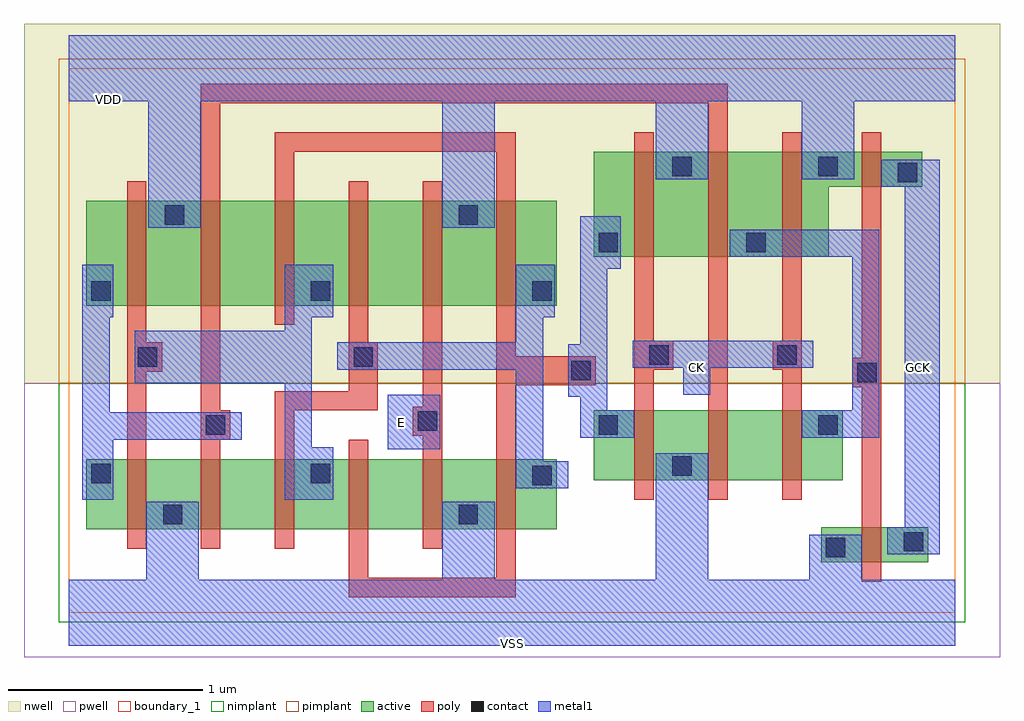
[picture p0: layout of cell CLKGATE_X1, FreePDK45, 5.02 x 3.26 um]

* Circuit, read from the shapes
.subckt CLKGATE_X1 CK E GCK VDD VSS
M1 VSS n1 n2 VSUBS nfet w=0.36u l=0.1u
M2 n3 n2 VSS VSUBS nfet w=0.36u l=0.1u
M3 n1 n4 n3 VSUBS nfet w=0.36u l=0.1u
M4 n5 n6 n1 VSUBS nfet w=0.36u l=0.1u
M5 VSS E n5 VSUBS nfet w=0.36u l=0.1u
M6 n4 n6 VSS VSUBS nfet w=0.36u l=0.1u
M7 VSS CK n6 VSUBS nfet w=0.36u l=0.1u
M8 n7 n2 VSS VSUBS nfet w=0.36u l=0.1u
M9 n8 CK n7 VSUBS nfet w=0.36u l=0.1u
M10 GCK n8 VSS VSUBS nfet w=0.18u l=0.1u
M11 VDD n1 n2 n9 pfet w=0.54u l=0.1u
M12 n10 n2 VDD n9 pfet w=0.54u l=0.1u
M13 n1 n6 n10 n9 pfet w=0.54u l=0.1u
M14 n11 n4 n1 n9 pfet w=0.54u l=0.1u
M15 VDD E n11 n9 pfet w=0.54u l=0.1u
M16 n4 n6 VDD n9 pfet w=0.54u l=0.1u
M17 VDD CK n6 n9 pfet w=0.54u l=0.1u
M18 n8 n2 VDD n9 pfet w=0.54u l=0.1u
M19 VDD CK n8 n9 pfet w=0.54u l=0.1u
M20 GCK n8 VDD n9 pfet w=0.18u l=0.1u
.ends

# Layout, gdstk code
import gdstk
lib = gdstk.Library(unit=1e-6, precision=1e-09)
def R(c, l, rs):  # rectangles x0, y0, x1, y1
    for r in rs: c.add(gdstk.rectangle(r[:2], r[2:], *l))
def P(c, l, *ps):  # polygons
    for p in ps: c.add(gdstk.Polygon(p, *l))
active = (1, 0)
pwell = (2, 0)
nwell = (3, 0)
nimplant = (4, 0)
pimplant = (5, 0)
poly = (9, 0)
contact = (10, 0)
metal1 = (11, 0)
boundary_1 = (235, 1)

clkgate_x1 = lib.new_cell('CLKGATE_X1')
R(clkgate_x1, active, [(3.87,0.26,4.42,0.44), (0.09,0.43,2.51,0.79), (2.7,0.68,3.98,1.04), (0.09,1.58,2.51,2.12)])
P(clkgate_x1, active, [(2.7,1.83),(3.91,1.83),(3.91,2.19),(4.39,2.19),(4.39,2.37),(2.7,2.37)])
R(clkgate_x1, pwell, [(-0.23,-0.23,4.79,1.18)])
R(clkgate_x1, nwell, [(-0.23,1.18,4.79,3.03)])
R(clkgate_x1, nimplant, [(-0.05,-0.05,4.61,1.18)])
R(clkgate_x1, pimplant, [(-0.05,1.18,4.61,2.85)])
P(clkgate_x1, poly, [(4.03,1.16),(4.08,1.16),(4.08,0.16),(4.18,0.16),(4.18,2.47),(4.08,2.47),(4.08,1.31),(4.03,1.31)],
  [(3.62,1.25),(3.67,1.25),(3.67,0.58),(3.77,0.58),(3.77,2.47),(3.67,2.47),(3.67,1.4),(3.62,1.4)],
  [(0.78,2.62),(3.29,2.62),(3.29,0.58),(3.39,0.58),(3.39,2.72),(0.68,2.72),(0.68,0.33),(0.78,0.33),(0.78,0.89),(0.83,0.89),(0.83,1.04),(0.78,1.04)],
  [(2.91,0.58),(3.01,0.58),(3.01,1.25),(3.11,1.25),(3.11,1.4),(3.01,1.4),(3.01,2.47),(2.91,2.47)],
  [(1.06,1.48),(1.16,1.48),(1.16,2.37),(2.2,2.37),(2.2,0.18),(1.54,0.18),(1.54,0.89),(1.44,0.89),(1.44,0.08),(2.3,0.08),(2.3,1.17),(2.71,1.17),(2.71,1.32),(2.3,1.32),(2.3,2.47),(1.06,2.47)],
  [(1.77,0.91),(1.82,0.91),(1.82,0.33),(1.92,0.33),(1.92,2.22),(1.82,2.22),(1.82,1.06),(1.77,1.06)],
  [(1.06,0.33),(1.16,0.33),(1.16,1.04),(1.59,1.04),(1.59,1.39),(1.54,1.39),(1.54,2.22),(1.44,2.22),(1.44,1.14),(1.06,1.14)],
  [(0.3,0.33),(0.4,0.33),(0.4,1.24),(0.48,1.24),(0.48,1.39),(0.4,1.39),(0.4,2.22),(0.3,2.22)])
R(clkgate_x1, contact, [(3.895,0.285,3.995,0.385), (4.295,0.315,4.395,0.415), (0.485,0.455,0.585,0.555), (2.005,0.455,2.105,0.555), (2.385,0.655,2.485,0.755), (0.115,0.665,0.215,0.765), (1.245,0.665,1.345,0.765), (3.105,0.705,3.205,0.805), (0.705,0.915,0.805,1.015), (2.725,0.915,2.825,1.015), (3.855,0.915,3.955,1.015), (1.795,0.935,1.895,1.035), (4.055,1.185,4.155,1.285), (2.585,1.195,2.685,1.295), (0.355,1.265,0.455,1.365), (1.465,1.265,1.565,1.365), (2.985,1.275,3.085,1.375), (3.645,1.275,3.745,1.375), (0.115,1.605,0.215,1.705), (1.245,1.605,1.345,1.705), (2.385,1.605,2.485,1.705), (2.725,1.855,2.825,1.955), (3.485,1.855,3.585,1.955), (0.495,1.995,0.595,2.095), (2.005,1.995,2.105,2.095), (4.265,2.215,4.365,2.315), (3.105,2.245,3.205,2.345), (3.855,2.245,3.955,2.345)])
R(clkgate_x1, metal1, [(1.64,0.84,1.91,1.12), (1.64,0.84,1.91,1.12)])
P(clkgate_x1, metal1, [(2.9,1.26),(3.16,1.26),(3.16,1.12),(3.3,1.12),(3.3,1.26),(3.83,1.26),(3.83,1.4),(2.9,1.4)],
  [(4.18,2.19),(4.3,2.19),(4.3,0.44),(4.21,0.44),(4.21,0.3),(4.48,0.3),(4.48,2.33),(4.18,2.33)],
  [(0,-0.17),(4.56,-0.17),(4.56,0.17),(4.08,0.17),(4.08,0.4),(3.81,0.4),(3.81,0.17),(3.29,0.17),(3.29,0.82),(3.02,0.82),(3.02,0.17),(2.19,0.17),(2.19,0.57),(1.92,0.57),(1.92,0.17),(0.67,0.17),(0.67,0.57),(0.4,0.57),(0.4,0.17),(0,0.17)],
  [(0,2.63),(0.41,2.63),(0.41,1.98),(0.68,1.98),(0.68,2.63),(1.92,2.63),(1.92,1.98),(2.19,1.98),(2.19,2.63),(3.02,2.63),(3.02,2.23),(3.29,2.23),(3.29,2.63),(3.77,2.63),(3.77,2.23),(4.04,2.23),(4.04,2.63),(4.56,2.63),(4.56,2.97),(0,2.97)],
  [(0,2.63),(0.41,2.63),(0.41,1.98),(0.68,1.98),(0.68,2.63),(1.92,2.63),(1.92,1.98),(2.19,1.98),(2.19,2.63),(3.02,2.63),(3.02,2.23),(3.29,2.23),(3.29,2.63),(3.77,2.63),(3.77,2.23),(4.04,2.23),(4.04,2.63),(4.56,2.63),(4.56,2.97),(0,2.97)],
  [(0,-0.17),(4.56,-0.17),(4.56,0.17),(4.08,0.17),(4.08,0.4),(3.81,0.4),(3.81,0.17),(3.29,0.17),(3.29,0.82),(3.02,0.82),(3.02,0.17),(2.19,0.17),(2.19,0.57),(1.92,0.57),(1.92,0.17),(0.67,0.17),(0.67,0.57),(0.4,0.57),(0.4,0.17),(0,0.17)],
  [(4.18,2.19),(4.3,2.19),(4.3,0.44),(4.21,0.44),(4.21,0.3),(4.48,0.3),(4.48,2.33),(4.18,2.33)],
  [(3.4,1.83),(4.03,1.83),(4.03,1.04),(3.77,1.04),(3.77,0.9),(4.17,0.9),(4.17,1.97),(3.4,1.97)],
  [(2.9,1.26),(3.16,1.26),(3.16,1.12),(3.3,1.12),(3.3,1.26),(3.83,1.26),(3.83,1.4),(2.9,1.4)],
  [(2.57,1.11),(2.63,1.11),(2.63,0.9),(2.91,0.9),(2.91,1.04),(2.77,1.04),(2.77,1.77),(2.84,1.77),(2.84,2.04),(2.63,2.04),(2.63,1.38),(2.57,1.38)],
  [(1.38,1.25),(2.3,1.25),(2.3,0.64),(2.57,0.64),(2.57,0.78),(2.44,0.78),(2.44,1.52),(2.5,1.52),(2.5,1.79),(2.3,1.79),(2.3,1.39),(1.38,1.39)],
  [(1.25,1.52),(1.36,1.52),(1.36,1.79),(1.11,1.79),(1.11,1.45),(0.34,1.45),(0.34,1.18),(1.11,1.18),(1.11,0.58),(1.36,0.58),(1.36,0.85),(1.25,0.85)],
  [(0.07,0.58),(0.23,0.58),(0.23,0.89),(0.89,0.89),(0.89,1.03),(0.21,1.03),(0.21,1.52),(0.23,1.52),(0.23,1.79),(0.07,1.79)])
R(clkgate_x1, boundary_1, [(0,0,4.56,2.8)])
clkgate_x1.add(gdstk.Label('VSS', (2.28,-0.16), layer=11, texttype=0))
clkgate_x1.add(gdstk.Label('VDD', (0.205,2.64), layer=11, texttype=0))
clkgate_x1.add(gdstk.Label('GCK', (4.37,1.26), layer=11, texttype=0))
clkgate_x1.add(gdstk.Label('E', (1.71,0.98), layer=11, texttype=0))
clkgate_x1.add(gdstk.Label('CK', (3.23,1.26), layer=11, texttype=0))

lib.write_gds('CLKGATE_X1.gds')
